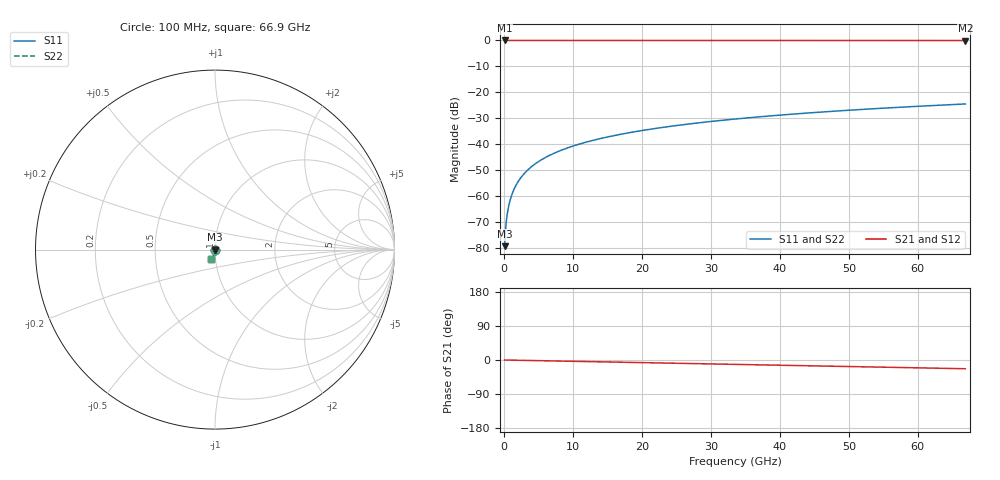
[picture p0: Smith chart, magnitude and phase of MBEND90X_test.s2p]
! Created with skrf (http://scikit-rf.org).
# Hz S RI R 50.0
!freq ReS11 ImS11 ReS21 ImS21 ReS12 ImS12 ReS22 ImS22
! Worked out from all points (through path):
!   669 points, 100 MHz to 66.9 GHz, reference 50 ohm
!   highest |S21| = 0.00 dB at 100 MHz (marker M1); lowest = 0.0 dB at 66.9 GHz (marker M2)
!   group delay of S21, straight-line fit = 958 fs
!   lowest |S11| = -79.4 dB at 100 MHz (marker M3), VSWR 1.00, Z = 50 - j0.00916 ohm
!   |S11| at or under -10 dB: start of sweep to end of sweep
!   |S22| runs from -79.4 to -24.5 dB; largest |S21 - S12| = 1.6e-13
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1e8  5.54e-05 -9.16e-05  0.9999 -0.000603  0.9999 -0.000603  5.54e-05 -9.16e-05
3e8  5.21e-05 -0.000275  0.9999 -0.00181  0.9999 -0.00181  5.21e-05 -0.000275
5e8  4.84e-05 -0.000458  0.9999 -0.00301  0.9999 -0.00301  4.84e-05 -0.000458
6e8  5.13e-05 -0.000549  0.9999 -0.00362  0.9999 -0.00362  5.13e-05 -0.000549
8e8  5.69e-05 -0.000733  0.9999 -0.00482  0.9999 -0.00482  5.69e-05 -0.000733
1e9  6.2e-05 -0.000916  0.9999 -0.00603  0.9999 -0.00603  6.2e-05 -0.000916
1.3e9  6.24e-05 -0.00119  0.9999 -0.00783  0.9999 -0.00783  6.24e-05 -0.00119
1.7e9  6.14e-05 -0.00156  0.9998 -0.0102  0.9998 -0.0102  6.14e-05 -0.00156
2.2e9  5.77e-05 -0.00201  0.9998 -0.0133  0.9998 -0.0133  5.77e-05 -0.00201
2.7e9  5.12e-05 -0.00247  0.9997 -0.0163  0.9997 -0.0163  5.12e-05 -0.00247
3.4e9  3.75e-05 -0.00311  0.9996 -0.0205  0.9996 -0.0205  3.75e-05 -0.00311
4.1e9  1.84e-05 -0.00375  0.9995 -0.0247  0.9995 -0.0247  1.84e-05 -0.00375
6e9  -7.02e-05 -0.00549  0.9991 -0.0361  0.9991 -0.0361  -7.02e-05 -0.00549
8.4e9  -0.00025 -0.00768  0.9984 -0.0506  0.9984 -0.0506  -0.00025 -0.00768
1.13e10  -0.000557 -0.0103  0.9973 -0.068  0.9973 -0.068  -0.000557 -0.0103
1.62e10  -0.00129 -0.0147  0.9947 -0.0974  0.9947 -0.0974  -0.00129 -0.0147
2.24e10  -0.00261 -0.0203  0.9901 -0.1345  0.9901 -0.1345  -0.00261 -0.0203
2.76e10  -0.00403 -0.0248  0.9852 -0.1654  0.9852 -0.1654  -0.00403 -0.0248
3.35e10  -0.00598 -0.0298  0.9785 -0.2002  0.9785 -0.2002  -0.00598 -0.0298
4.47e10  -0.0107 -0.0389  0.9623 -0.2655  0.9623 -0.2655  -0.0107 -0.0389
5.58e10  -0.0164 -0.0472  0.9418 -0.3289  0.9418 -0.3289  -0.0164 -0.0472
6.69e10  -0.0233 -0.0547  0.9172 -0.3907  0.9172 -0.3907  -0.0233 -0.0547
